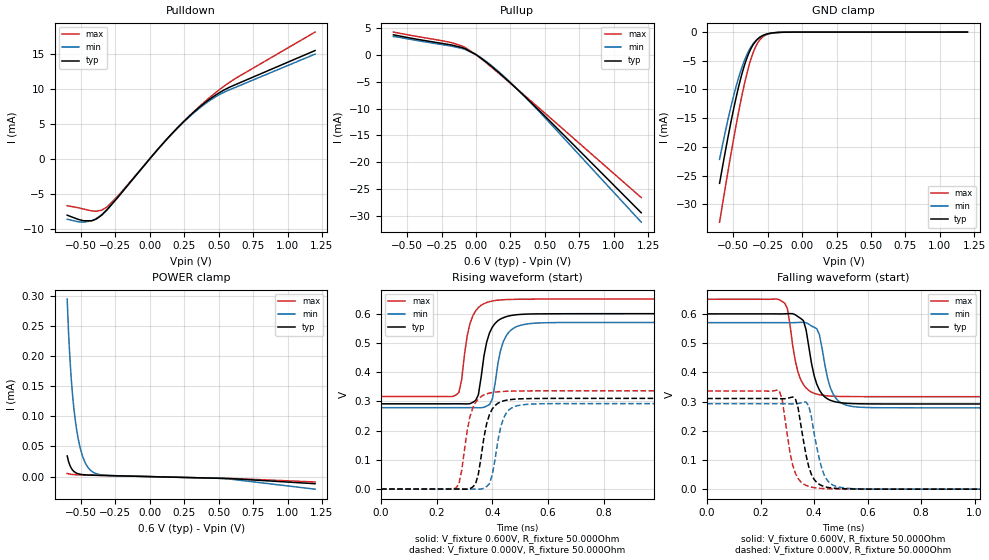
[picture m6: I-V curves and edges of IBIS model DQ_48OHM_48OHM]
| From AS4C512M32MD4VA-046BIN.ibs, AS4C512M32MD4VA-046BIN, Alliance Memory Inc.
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|   MODEL: DQ_48OHM_48OHM
[Model]   DQ_48OHM_48OHM
Model_type   I/O
Polarity   Non-Inverting
Enable   Active-High
Vinl   = 0.080V
Vinh   = 0.220V
Vmeas   = 0.150V
Vref   = 0.150V
Cref   = 0.000pF
Rref   = 50.000Ohm
|   typ   min   max
C_comp   0.875pF   0.788pF   0.963pF
[Voltage Range]   0.600V   0.570V   0.650V
[Temperature Range]   25.0   85.0   -40.0
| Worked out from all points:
|   slope of the pulldown table from 0 to 0.09 V, typ, clamps not added: 43.5 ohm
|   slope of the pullup table from 0 to 0.09 V, typ, clamps not added: 52.7 ohm
|   GND clamp passes 1 mA (typ) near -0.31 V on its own axis
|   rising waveform, V_fixture 0.600V, R_fixture 50.000Ohm: 20-80 % time 37.1ps typ, 37.7ps min, 35.4ps max; typ from 0.292 V to 0.6 V
|   falling waveform, V_fixture 0.600V, R_fixture 50.000Ohm: 20-80 % time 41.7ps typ, 42.3ps min, 40.3ps max; typ from 0.6 V to 0.292 V
|   rising waveform, V_fixture 0.000V, R_fixture 50.000Ohm: 20-80 % time 35.9ps typ, 35.7ps min, 36.4ps max; typ from 0 V to 0.31 V
|   falling waveform, V_fixture 0.000V, R_fixture 50.000Ohm: 20-80 % time 40.2ps typ, 41.3ps min, 38.6ps max; typ from 0.31 V to 0 V
[Pulldown]
|   Voltage   I(typ)   I(min)   I(max)
-600mV    -8.067mA   -8.641mA   -6.714mA
-480mV    -8.867mA   -9.068mA   -7.191mA
-420mV    -8.855mA   -8.859mA   -7.459mA
-350mV    -8.079mA   -7.999mA   -7.36mA
-310mV    -7.301mA   -7.234mA   -6.891mA
-230mV    -5.468mA   -5.432mA   -5.289mA
130mV     2.946mA    2.91mA     2.912mA
270mV     5.771mA    5.683mA    5.784mA
400mV     7.996mA    7.828mA    8.169mA
490mV     9.253mA    8.998mA    9.638mA
580mV     10.23mA    9.864mA    10.93mA
1.2V      15.47mA    14.96mA    18.11mA
[Pullup]
|   Voltage   I(typ)   I(min)   I(max)
-600mV    3.666mA    3.362mA    4.175mA
-180mV    1.791mA    1.583mA    2.24mA
-100mV    1.29mA     1.134mA    1.576mA
0V        0A         0A         0A
80mV      -1.505mA   -1.39mA    -1.643mA
220mV     -4.564mA   -4.445mA   -4.653mA
400mV     -8.893mA   -8.998mA   -8.629mA
1.2V      -29.33mA   -31.08mA   -26.52mA
[GND Clamp]
|   Voltage   I(typ)   I(min)   I(max)
-600mV    -26.36mA   -22.19mA   -33.14mA
-550mV    -19.73mA   -16.43mA   -25.84mA
-510mV    -14.79mA   -12.27mA   -20.24mA
-470mV    -10.36mA   -8.615mA   -14.96mA
-430mV    -6.627mA   -5.609mA   -10.17mA
-390mV    -3.805mA   -3.349mA   -6.151mA
-360mV    -2.341mA   -2.151mA   -3.819mA
-320mV    -1.14mA    -1.122mA   -1.755mA
-280mV    -524.1uA   -555.5uA   -715.7uA
-230mV    -184.4uA   -215.6uA   -213.3uA
-140mV    -20.29uA   -29.99uA   -17.96uA
1.2V      6.836uA    7.386uA    6.714uA
[POWER Clamp]
|   Voltage   I(typ)   I(min)   I(max)
-600mV    34.27uA    294.1uA    5.169uA
-590mV    25uA       238.9uA    4.47uA
-570mV    13.84uA    160.6uA    3.674uA
-560mV    10.58uA    132.6uA    3.444uA
-540mV    6.655uA    91.24uA    3.146uA
-520mV    4.678uA    62.84uA    2.957uA
-490mV    3.339uA    35.2uA     2.748uA
-460mV    2.772uA    19.1uA     2.569uA
-420mV    2.39uA     8.47uA     2.342uA
-300mV    1.671uA    1.938uA    1.671uA
560mV     -3.13uA    -3.595uA   -3.086uA
1.2V      -11.8uA    -20.82uA   -8.926uA
[Ramp]
R_load = 50.000Ohm
|   typ   min   max
dV/dt_r   0.185V/40.000ps   0.175V/40.000ps   0.200V/30.000ps
dV/dt_f   0.185V/40.000ps   0.175V/40.000ps   0.200V/40.000ps
|Slew_r   4.627V/ns   4.375V/ns   6.670V/ns
|Slew_f   4.625V/ns   4.373V/ns   5.001V/ns
[Rising Waveform]
V_fixture = 0.600V
V_fixture_min = 0.570V
V_fixture_max = 0.650V
R_fixture = 50.000Ohm
L_fixture = 0.000nH
C_fixture = 0.000pF
|dV/dt_r   0.185V/40.000ps   0.175V/40.000ps   0.200V/30.000ps
|Slew_r   4.627V/ns   4.375V/ns   6.670V/ns
|   Time   V(typ)   V(min)   V(max)
0s        291.5mV    278.3mV    316.5mV
280ps     291.7mV    278.3mV    330.3mV
310ps     291.2mV    278.5mV    525.5mV
340ps     302.8mV    278.3mV    609.3mV
380ps     503.2mV    283.8mV    638.3mV
400ps     553.8mV    306.9mV    643.5mV
440ps     586.4mV    505.3mV    647.8mV
490ps     596.6mV    556.8mV    649.3mV
610ps     599.6mV    569.4mV    650mV
5ns       600mV      570mV      650mV
[Falling Waveform]
V_fixture = 0.600V
V_fixture_min = 0.570V
V_fixture_max = 0.650V
R_fixture = 50.000Ohm
L_fixture = 0.000nH
C_fixture = 0.000pF
|dV/dt_f   0.185V/40.000ps   0.175V/40.000ps   0.200V/40.000ps
|Slew_f   4.625V/ns   4.373V/ns   5.001V/ns
|   Time   V(typ)   V(min)   V(max)
0s        599.9mV    569.9mV    649.9mV
290ps     600.1mV    569.9mV    636.7mV
300ps     600.6mV    569.9mV    618.9mV
350ps     584.3mV    570.9mV    374.3mV
370ps     545.1mV    569.6mV    346.3mV
410ps     359.2mV    549.3mV    325.2mV
450ps     309mV      381.2mV    319.3mV
500ps     295.8mV    295.7mV    317.3mV
600ps     291.9mV    279.4mV    316.6mV
5ns       291.6mV    278.4mV    316.5mV
[Rising Waveform]
V_fixture = 0.000V
V_fixture_min = 0.000V
V_fixture_max = 0.000V
R_fixture = 50.000Ohm
L_fixture = 0.000nH
C_fixture = 0.000pF
|dV/dt_r   0.186V/30.000ps   0.175V/30.000ps   0.202V/30.000ps
|Slew_r   6.205V/ns   5.847V/ns   6.720V/ns
|   Time   V(typ)   V(min)   V(max)
0s        4.382uV    13.02uV    1.859uV
270ps     88.02uV    13.05uV    4.578mV
280ps     34.94uV    16.74uV    17.07mV
330ps     7.32mV     -152.3uV   277.8mV
350ps     51.24mV    -413uV     308.5mV
390ps     255.1mV    18.85mV    328.3mV
430ps     298.3mV    211.2mV    333.5mV
470ps     306.6mV    277.7mV    335.1mV
580ps     310mV      291.9mV    336mV
5ns       310.2mV    292.4mV    336mV
[Falling Waveform]
V_fixture = 0.000V
V_fixture_min = 0.000V
V_fixture_max = 0.000V
R_fixture = 50.000Ohm
L_fixture = 0.000nH
C_fixture = 0.000pF
|dV/dt_f   0.186V/40.000ps   0.175V/40.000ps   0.202V/40.000ps
|Slew_f   4.653V/ns   4.384V/ns   5.039V/ns
|   Time   V(typ)   V(min)   V(max)
0s        310.2mV    292.3mV    335.9mV
270ps     309.8mV    292.4mV    336.1mV
280ps     309.5mV    292.4mV    308.9mV
310ps     313.3mV    291.7mV    123.8mV
330ps     309.2mV    291.7mV    53.83mV
380ps     76.32mV    284.9mV    9.382mV
420ps     16.05mV    101.2mV    2.976mV
460ps     4.75mV     19.86mV    1.188mV
570ps     398.2uV    848.7uV    74.23uV
5ns       4.862uV    13.48uV    2.355uV
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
